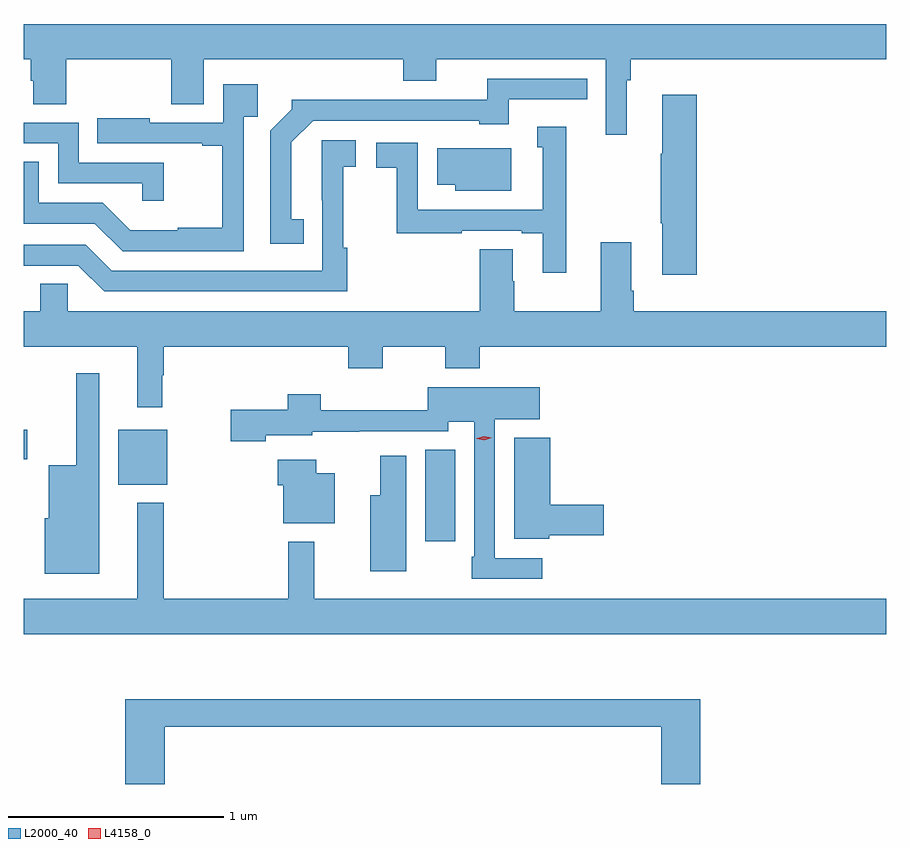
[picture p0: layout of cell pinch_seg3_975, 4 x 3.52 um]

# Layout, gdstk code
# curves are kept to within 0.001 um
import gdstk
lib = gdstk.Library(unit=1e-6, precision=1e-09)
def R(c, l, rs):  # rectangles x0, y0, x1, y1
    for r in rs: c.add(gdstk.rectangle(r[:2], r[2:], *l))
def P(c, l, *ps):  # polygons
    for p in ps: c.add(gdstk.Polygon(p, *l))
L2000_40 = (2000, 40)
L4158_0 = (4158, 0)

pinch_seg3_975 = lib.new_cell('pinch_seg3_975')
R(pinch_seg3_975, L2000_40, [(421.76,735.978,421.897,736.403), (420.335,736.241,420.562,736.495), (419.897,736.359,419.914,736.495)])
P(pinch_seg3_975, L2000_40, [(419.897,738.212),(419.93,738.212),(419.93,738.114),(419.942,738.114),(419.942,738.004),(420.095,738.004),(420.095,738.212),(420.581,738.212),(420.581,738.004),(420.733,738.004),(420.733,738.212),(421.658,738.212),(421.658,738.113),(421.81,738.113),(421.81,738.212),(422.595,738.212),(422.595,737.862),(422.692,737.862),(422.692,738.116),(422.711,738.116),(422.711,738.212),(423.897,738.212),(423.897,738.376),(419.897,738.376)],
  [(421.196,737.471),(421.138,737.471),(421.138,737.827),(421.239,737.928),(422.01,737.928),(422.01,737.912),(422.146,737.912),(422.146,738.027),(422.51,738.027),(422.51,738.123),(422.047,738.123),(422.047,738.024),(421.574,738.024),(421.574,738.026),(421.14,738.026),(421.14,737.981),(421.041,737.882),(421.041,737.358),(421.196,737.358)],
  [(420.918,737.945),(420.983,737.945),(420.983,738.097),(420.822,738.097),(420.822,737.919),(420.481,737.919),(420.481,737.938),(420.238,737.938),(420.238,737.823),(420.725,737.823),(420.725,737.811),(420.817,737.811),(420.817,737.431),(420.611,737.431),(420.611,737.419),(420.392,737.419),(420.264,737.547),(419.968,737.547),(419.968,737.738),(419.897,737.738),(419.897,737.451),(420.228,737.451),(420.357,737.322),(420.918,737.322)],
  [(423.017,738.049),(422.858,738.049),(422.858,737.774),(422.851,737.774),(422.851,737.452),(422.858,737.452),(422.858,737.214),(423.017,737.214)],
  [(420.548,737.733),(420.153,737.733),(420.153,737.919),(419.897,737.919),(419.897,737.823),(420.057,737.823),(420.057,737.637),(420.447,737.637),(420.447,737.556),(420.548,737.556)],
  [(422.413,737.899),(422.279,737.899),(422.279,737.805),(422.303,737.805),(422.303,737.514),(421.725,737.514),(421.725,737.826),(421.533,737.826),(421.533,737.71),(421.627,737.71),(421.627,737.406),(421.928,737.406),(421.928,737.418),(422.207,737.418),(422.207,737.406),(422.303,737.406),(422.303,737.223),(422.413,737.223)],
  [(421.397,737.339),(421.38,737.339),(421.38,737.715),(421.438,737.715),(421.438,737.836),(421.28,737.836),(421.281,737.232),(420.306,737.232),(420.186,737.352),(419.897,737.352),(419.897,737.256),(420.15,737.256),(420.27,737.136),(421.397,737.136)],
  [(422.158,737.8),(421.814,737.8),(421.814,737.63),(421.899,737.63),(421.899,737.603),(422.158,737.603)],
  [(420.539,736.748),(420.547,736.748),(420.547,736.88),(421.403,736.88),(421.403,736.781),(421.563,736.781),(421.563,736.88),(421.852,736.88),(421.852,736.781),(422.012,736.781),(422.012,736.88),(423.897,736.88),(423.897,737.044),(422.726,737.044),(422.726,737.14),(422.713,737.14),(422.713,737.365),(422.573,737.365),(422.573,737.044),(422.172,737.044),(422.172,737.183),(422.164,737.183),(422.164,737.333),(422.012,737.333),(422.012,737.044),(420.102,737.044),(420.102,737.171),(419.975,737.171),(419.975,737.044),(419.897,737.044),(419.897,736.88),(420.425,736.88),(420.425,736.599),(420.539,736.599)],
  [(420.247,736.756),(420.141,736.756),(420.141,736.33),(420.014,736.33),(420.014,736.086),(419.996,736.086),(419.996,735.827),(420.247,735.827)],
  [(422.302,735.9),(422.082,735.9),(422.082,736.544),(422.29,736.544),(422.29,736.693),(421.77,736.693),(421.77,736.586),(421.274,736.586),(421.274,736.66),(421.121,736.66),(421.121,736.587),(420.858,736.587),(420.858,736.442),(421.02,736.442),(421.02,736.47),(421.236,736.47),(421.236,736.487),(421.454,736.487),(421.454,736.488),(421.866,736.488),(421.866,736.532),(421.986,736.532),(421.986,735.907),(421.974,735.907),(421.974,735.804),(422.302,735.804)],
  [(422.334,736.006),(422.587,736.006),(422.587,736.148),(422.338,736.148),(422.338,736.459),(422.171,736.459),(422.171,735.989),(422.334,735.989)],
  [(421.672,736.375),(421.55,736.375),(421.55,736.192),(421.505,736.192),(421.505,735.84),(421.672,735.84)],
  [(421.339,736.294),(421.254,736.294),(421.254,736.357),(421.076,736.357),(421.076,736.239),(421.1,736.239),(421.1,736.061),(421.339,736.061)],
  [(423.897,735.712),(421.244,735.712),(421.244,735.976),(421.123,735.976),(421.123,735.712),(420.547,735.712),(420.547,736.156),(420.425,736.156),(420.425,735.712),(419.897,735.712),(419.897,735.548),(423.897,735.548)],
  [(420.551,735.118),(422.852,735.118),(422.852,734.853),(423.035,734.853),(423.035,735.247),(420.368,735.247),(420.368,734.853),(420.551,734.853)])
P(pinch_seg3_975, L4158_0, [(422.033,736.446),(421.998,736.454),(421.998,736.455),(421.998,736.455),(422.033,736.466),(422.068,736.458),(422.068,736.457),(422.068,736.457)])

lib.write_gds('pinch_seg3_975.gds')
